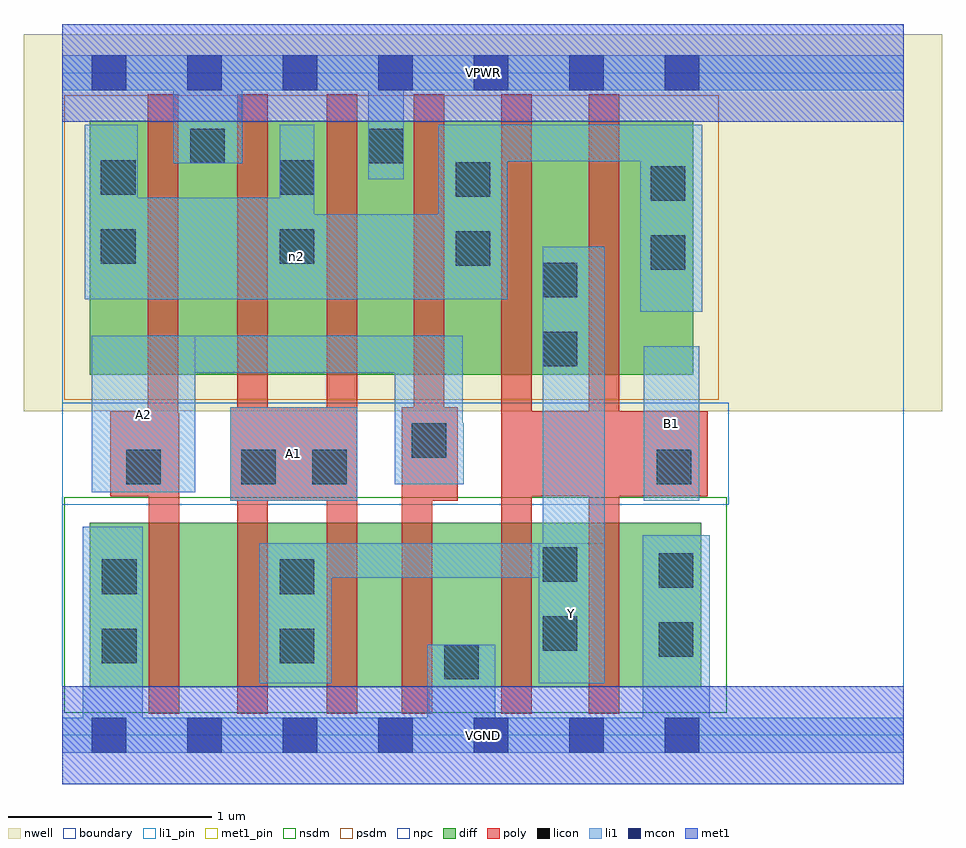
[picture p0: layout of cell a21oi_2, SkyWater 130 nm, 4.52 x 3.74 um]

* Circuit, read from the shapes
.subckt a21oi_2 A1 A2 B1 VGND VPWR Y n2
XM1 n1 A2 VGND VSUBS sky130_fd_pr__nfet_01v8 w=0.81 l=0.15
XM2 Y A1 n1 VSUBS sky130_fd_pr__nfet_01v8 w=0.81 l=0.15
XM3 n3 A1 Y VSUBS sky130_fd_pr__nfet_01v8 w=0.81 l=0.15
XM4 VGND A2 n3 VSUBS sky130_fd_pr__nfet_01v8 w=0.81 l=0.15
XM5 Y B1 VGND VSUBS sky130_fd_pr__nfet_01v8 w=0.81 l=0.15 m=2
XM6 VPWR A2 n2 n4 sky130_fd_pr__pfet_01v8 w=1.25 l=0.15 m=2
XM7 n2 A1 VPWR n4 sky130_fd_pr__pfet_01v8 w=1.25 l=0.15 m=2
XM8 Y B1 n2 n4 sky130_fd_pr__pfet_01v8 w=1.25 l=0.15 m=2
.ends

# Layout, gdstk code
import gdstk
lib = gdstk.Library(unit=1e-6, precision=1e-09)
def R(c, l, rs):  # rectangles x0, y0, x1, y1
    for r in rs: c.add(gdstk.rectangle(r[:2], r[2:], *l))
def A(c, l, x, y, w, h, nx, ny, dx, dy):  # array of equal rectangles
    R(c, l, [(x+i*dx, y+j*dy, x+i*dx+w, y+j*dy+h) for i in range(nx) for j in range(ny)])
nwell = (64, 20)
diff = (65, 20)
poly = (66, 20)
licon = (66, 44)
li1_pin = (67, 16)
li1 = (67, 20)
mcon = (67, 44)
met1_pin = (68, 16)
met1 = (68, 20)
nsdm = (93, 44)
psdm = (94, 20)
npc = (95, 20)
boundary = (235, 4)

a21oi_2 = lib.new_cell('a21oi_2')
R(a21oi_2, nwell, [(-0.19,1.595,4.33,3.45), (0,1.595,4.14,3.45)])
R(a21oi_2, diff, [(0.135,0.235,3.145,1.045), (0.135,1.775,3.105,3.025)])
R(a21oi_2, poly, [(0.425,0.105,0.575,1.585), (0.86,0.105,1.01,3.155), (1.3,0.105,1.45,3.155), (1.67,0.105,1.82,1.615), (2.16,0.105,2.31,3.155), (2.59,0.105,2.74,3.155), (0.825,1.155,1.45,1.615), (1.67,1.155,1.945,1.615), (1.73,1.155,1.88,3.155), (0.235,1.175,0.57,1.595), (0.42,1.175,0.57,3.155), (2.16,1.175,3.175,1.595)])
R(a21oi_2, licon, [(1.88,0.275,2.05,0.445), (0.195,0.355,0.365,0.525), (1.07,0.355,1.24,0.525), (2.935,0.385,3.105,0.555), (2.365,0.415,2.535,0.585), (0.195,0.695,0.365,0.865), (1.07,0.695,1.24,0.865), (2.935,0.725,3.105,0.895), (2.365,0.755,2.535,0.925), (0.315,1.235,0.485,1.405), (0.88,1.235,1.05,1.405), (1.23,1.235,1.4,1.405), (2.925,1.235,3.095,1.405), (1.72,1.365,1.89,1.535), (2.365,1.815,2.535,1.985), (2.365,2.155,2.535,2.325), (2.895,2.29,3.065,2.46), (1.935,2.31,2.105,2.48), (0.19,2.32,0.36,2.49), (1.07,2.32,1.24,2.49), (2.895,2.63,3.065,2.8), (1.935,2.65,2.105,2.82), (0.19,2.66,0.36,2.83), (1.07,2.66,1.24,2.83), (0.63,2.815,0.8,2.985), (1.505,2.815,1.675,2.985)])
R(a21oi_2, li1_pin, [(2.345,0.255,2.67,0.945), (0.825,1.155,1.45,1.615), (2.86,1.155,3.135,1.915), (0.145,1.195,0.655,1.965)])
R(a21oi_2, li1, [(0,-0.085,4.14,0.085), (0.1,-0.085,0.395,1.025), (1.795,-0.085,2.13,0.445), (2.855,-0.085,3.185,0.985), (0.97,0.255,1.325,0.945), (2.345,0.255,2.67,0.945), (2.365,0.255,2.67,2.405), (0.97,0.775,2.67,0.945), (0.825,1.155,1.45,1.615), (2.86,1.155,3.135,1.915), (0.145,1.195,0.655,1.965), (1.635,1.235,1.97,1.965), (1.635,1.235,1.975,1.535), (0.145,1.785,1.97,1.965), (2.845,2.085,3.15,3.005), (0.11,2.145,2.19,2.565), (0.11,2.145,0.37,3.005), (0.11,2.145,1.24,2.645), (1.07,2.145,1.24,3.005), (1.85,2.145,2.19,3.005), (1.505,2.735,1.68,3.345), (0.545,2.815,0.885,3.345), (1.85,2.825,3.15,3.005), (0,3.175,4.14,3.345)])
A(a21oi_2, mcon, 0.145, -0.085, 0.17, 0.17, 7, 2, 0.47, 3.26)
R(a21oi_2, met1_pin, [(0,-0.24,4.14,0.24), (0,3.02,4.14,3.5)])
R(a21oi_2, met1, [(0,-0.24,4.14,0.24), (0,3.02,4.14,3.5)])
R(a21oi_2, nsdm, [(0.01,0.11,3.27,1.17)])
R(a21oi_2, psdm, [(0.01,1.65,3.23,3.15)])
R(a21oi_2, npc, [(0,1.135,3.28,1.635)])
R(a21oi_2, boundary, [(0,0,4.14,3.26)])
a21oi_2.add(gdstk.Label('A1', (1.137,1.385), layer=67, texttype=5))
a21oi_2.add(gdstk.Label('A2', (0.4,1.58), layer=67, texttype=5))
a21oi_2.add(gdstk.Label('B1', (2.997,1.535), layer=67, texttype=5))
a21oi_2.add(gdstk.Label('Y', (2.507,0.6), layer=67, texttype=5))
a21oi_2.add(gdstk.Label('n2', (1.15,2.355), layer=67, texttype=5))
a21oi_2.add(gdstk.Label('VPWR', (2.07,3.26), layer=68, texttype=5))
a21oi_2.add(gdstk.Label('VGND', (2.07,0), layer=68, texttype=5))
a21oi_2.add(gdstk.Label('A1', (1.137,1.385), layer=67, texttype=16))
a21oi_2.add(gdstk.Label('A2', (0.4,1.58), layer=67, texttype=16))
a21oi_2.add(gdstk.Label('B1', (2.997,1.535), layer=67, texttype=16))
a21oi_2.add(gdstk.Label('Y', (2.507,0.6), layer=67, texttype=16))
a21oi_2.add(gdstk.Label('VPWR', (2.07,3.26), layer=68, texttype=16))
a21oi_2.add(gdstk.Label('VGND', (2.07,0), layer=68, texttype=16))

lib.write_gds('a21oi_2.gds')
